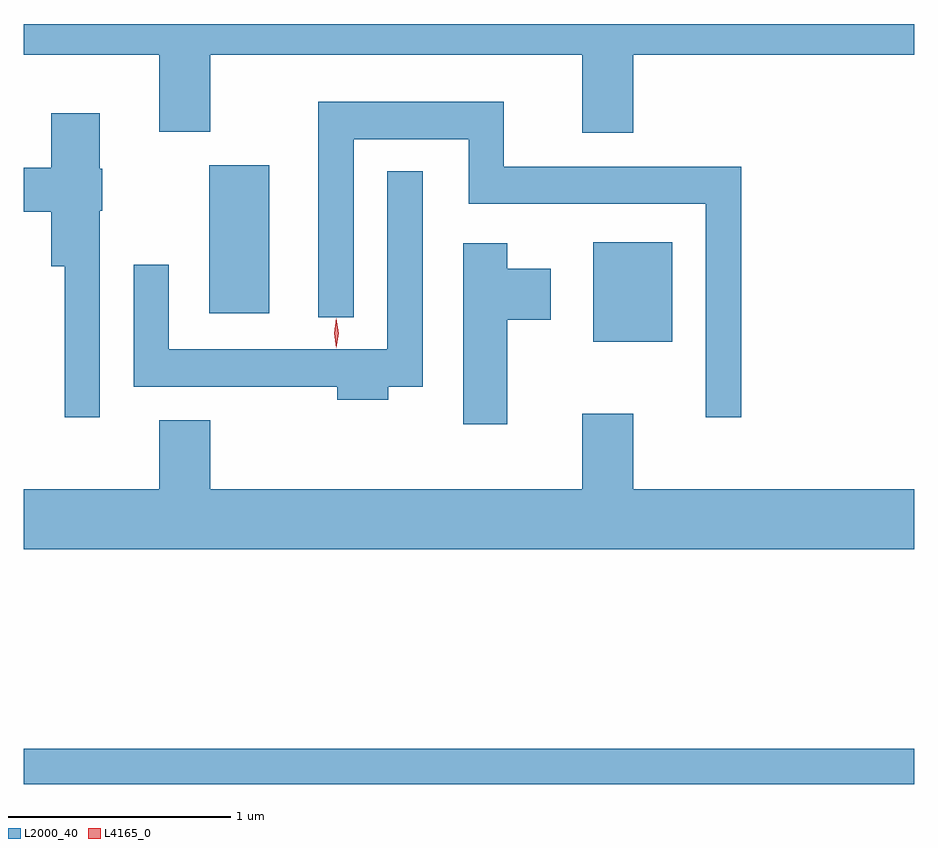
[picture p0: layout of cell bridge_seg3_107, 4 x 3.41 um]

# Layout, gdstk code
import gdstk
lib = gdstk.Library(unit=1e-6, precision=1e-09)
def R(c, l, rs):  # rectangles x0, y0, x1, y1
    for r in rs: c.add(gdstk.rectangle(r[:2], r[2:], *l))
def P(c, l, *ps):  # polygons
    for p in ps: c.add(gdstk.Polygon(p, *l))
L2000_40 = (2000, 40)
L4165_0 = (4165, 0)

bridge_seg3_107 = lib.new_cell('bridge_seg3_107')
R(bridge_seg3_107, L2000_40, [(1006.602,1213.761,1010.602,1213.919), (1009.161,1215.746,1009.514,1216.194), (1007.436,1215.876,1007.704,1216.539)])
P(bridge_seg3_107, L2000_40, [(1009.339,1217.036),(1010.602,1217.036),(1010.602,1217.174),(1006.602,1217.174),(1006.602,1217.036),(1007.211,1217.036),(1007.211,1216.691),(1007.439,1216.691),(1007.439,1217.036),(1009.111,1217.036),(1009.111,1216.686),(1009.339,1216.686)],
  [(1009.824,1216.534),(1008.759,1216.534),(1008.759,1216.824),(1007.926,1216.824),(1007.926,1215.858),(1008.084,1215.858),(1008.084,1216.656),(1008.601,1216.656),(1008.601,1216.366),(1009.666,1216.366),(1009.666,1215.408),(1009.824,1215.408)],
  [(1006.944,1216.335),(1006.954,1216.335),(1006.954,1216.525),(1006.944,1216.525),(1006.944,1216.774),(1006.726,1216.774),(1006.726,1216.529),(1006.602,1216.529),(1006.602,1216.331),(1006.726,1216.331),(1006.726,1216.086),(1006.786,1216.086),(1006.786,1215.408),(1006.944,1215.408)],
  [(1008.239,1215.546),(1008.394,1215.546),(1008.394,1216.513),(1008.236,1216.513),(1008.236,1215.714),(1007.254,1215.714),(1007.254,1216.093),(1007.096,1216.093),(1007.096,1215.546),(1008.011,1215.546),(1008.011,1215.486),(1008.239,1215.486)],
  [(1008.774,1215.846),(1008.969,1215.846),(1008.969,1216.074),(1008.774,1216.074),(1008.774,1216.189),(1008.576,1216.189),(1008.576,1215.376),(1008.774,1215.376)],
  [(1010.602,1215.084),(1009.339,1215.084),(1009.339,1215.424),(1009.111,1215.424),(1009.111,1215.084),(1007.439,1215.084),(1007.439,1215.394),(1007.211,1215.394),(1007.211,1215.084),(1006.602,1215.084),(1006.602,1214.816),(1010.602,1214.816)])
P(bridge_seg3_107, L4165_0, [(1008.006,1215.719),(1008.005,1215.72),(1007.996,1215.786),(1008.005,1215.852),(1008.005,1215.853),(1008.006,1215.852),(1008.016,1215.786),(1008.006,1215.72)])

lib.write_gds('bridge_seg3_107.gds')
